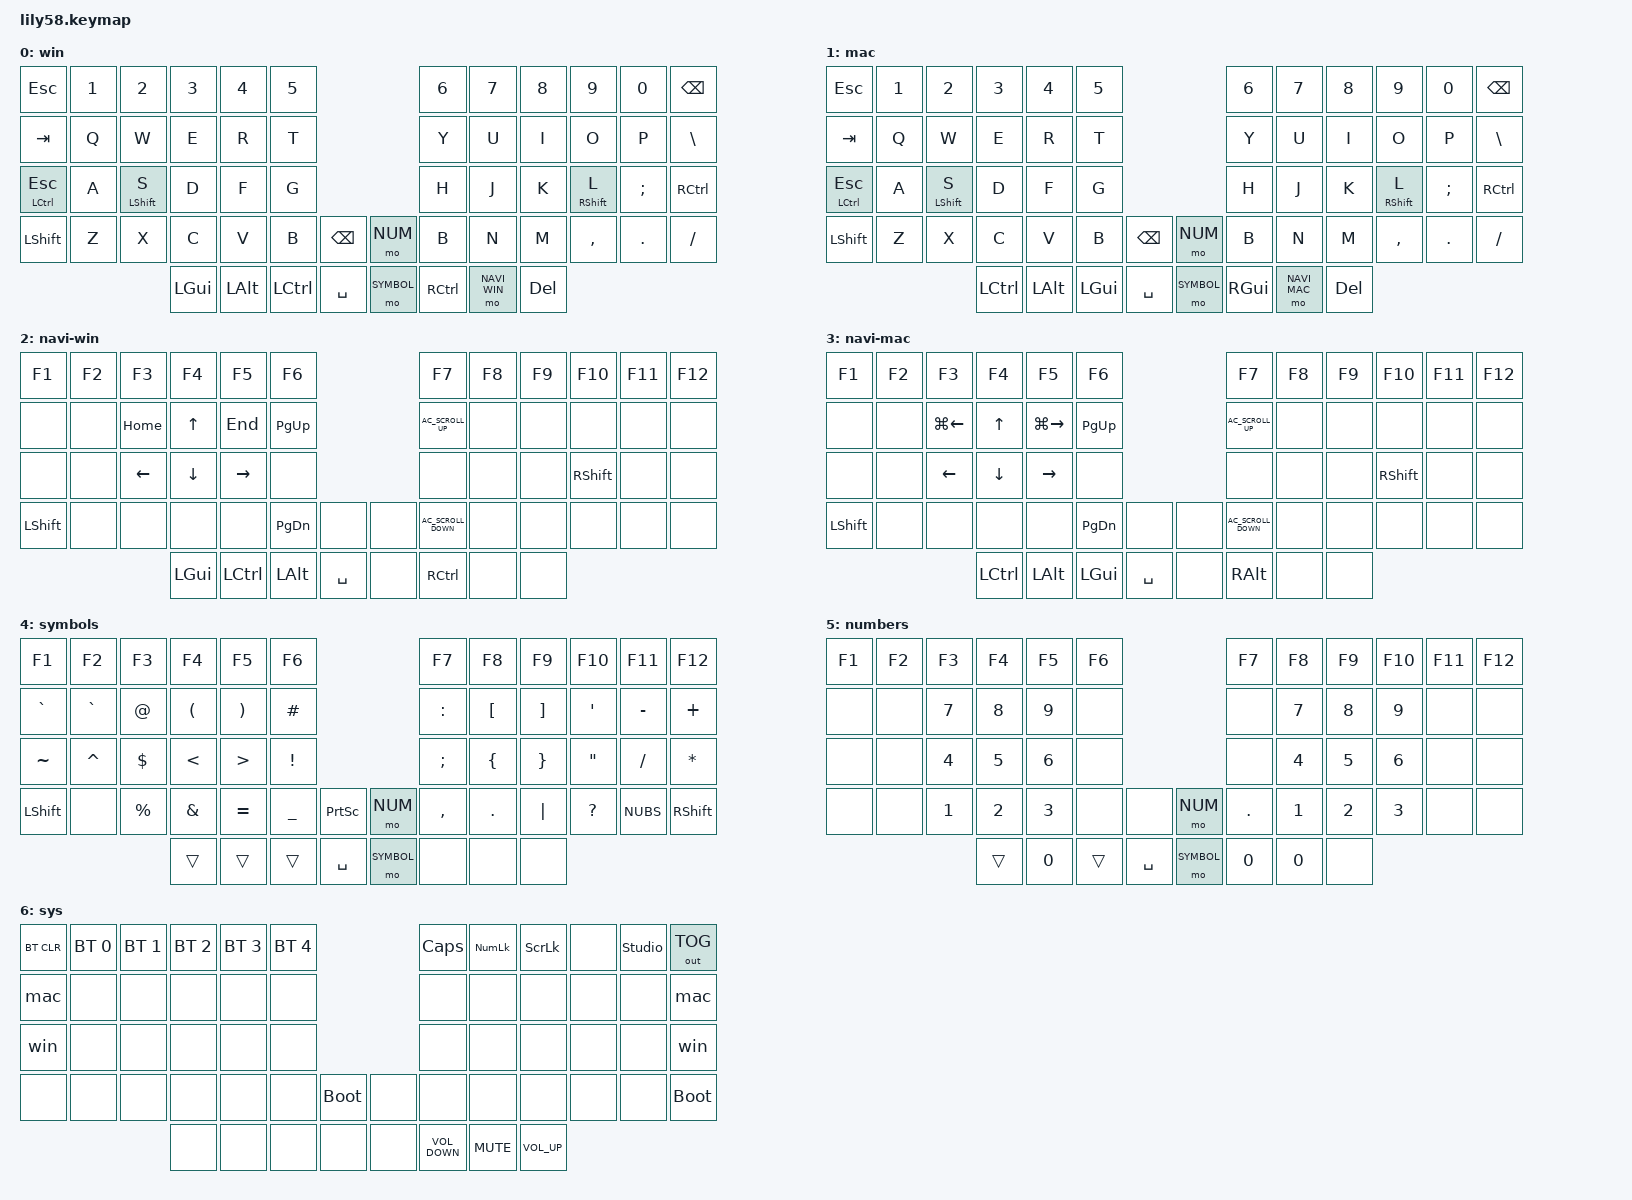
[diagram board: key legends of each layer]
/*
 * Copyright (c) 2020 The ZMK Contributors
 *
 * SPDX-License-Identifier: MIT
 */

#include <behaviors.dtsi>
#include <dt-bindings/zmk/bt.h>
#include <dt-bindings/zmk/keys.h>
#include <dt-bindings/zmk/outputs.h>

#define BASEWIN 0
#define BASEMAC 1
#define NAVI_WIN 2
#define NAVI_MAC 3
#define SYMBOL 4
#define NUM 5
#define SYS 6

/ {
    behaviors {
        rt: retro_tap {
            compatible = "zmk,behavior-hold-tap";
            bindings = <&kp>, <&kp>;

            #binding-cells = <2>;
            flavor = "tap-preferred";
            tapping-term-ms = <100>;
            require-prior-idle-ms = <125>;
            quick-tap-ms = <125>;
            retro-tap;
        };
        tpmt: tpmt {
            compatible = "zmk,behavior-hold-tap";
            bindings = <&kp>, <&kp>;

            #binding-cells = <2>;
            flavor = "tap-preferred";
            tapping-term-ms = <100>;
            require-prior-idle-ms = <125>;
            quick-tap-ms = <125>;
        };
        tog_on: toggle_layer_on_only {
            compatible = "zmk,behavior-toggle-layer";
            #binding-cells = <1>;
            display-name = "Toggle Layer On";
            toggle-mode = "on";
        };
        tog_off: toggle_layer_off_only {
            compatible = "zmk,behavior-toggle-layer";
            #binding-cells = <1>;
            display-name = "Toggle Layer Off";
            toggle-mode = "off";
        };
        win: win {
            compatible = "zmk,behavior-macro";
            #binding-cells = <0>;
            display-name = "Toggle to Win";
            bindings = <&macro_tap
                &tog_off BASEMAC
                &tog_on BASEWIN
            >;
        };
        mac: mac {
            compatible = "zmk,behavior-macro";
            #binding-cells = <0>;
            display-name = "Toggle to Mac";
            bindings = <&macro_tap
                &tog_off BASEWIN
                &tog_on BASEMAC
            >;
        };
    };

    keymap {
        compatible = "zmk,keymap";

        default_layer {
            // ------------------------------------------------------------------------------------------------------------
            // |  ESC  |  1  |  2  |  3   |  4   |  5   |                   |  6   |  7    |  8    |  9   |   0   | BSPC  |
            // |  TAB  |  Q  |  W  |  E   |  R   |  T   |                   |  Y   |  U    |  I    |  O   |   P   |   \   |
            // |  NUM  |  A  |  S  |  D   |  F   |  G   |                   |  H   |  J    |  K    |  L   |   ;   |  ALT  |
            // | SHIFT |  Z  |  X  |  C   |  V   |  B   |  SPACE |  | NUM   |  N   |  M    |  ,    |  .   |   /   | SHIFT |
            //                     | GUI  | ALT  | CTRL |  SPACE |  | SYMBOL| CTRL | NAVI  | DELETE|

            display-name = "win";
            bindings = <
&kp ESC        &kp N1         &kp N2            &kp N3        &kp N4          &kp N5                               &kp N6     &kp N7         &kp N8         &kp N9         &kp N0                 &kp BSPC
&kp TAB        &kp Q          &kp W             &kp E         &kp R           &kp T                                &kp Y      &kp U          &kp I          &kp O          &kp P                  &kp BACKSLASH
&rt LCTRL ESC  &kp A          &rt LSHFT S       &kp D         &kp F           &kp G                                &kp H      &kp J          &kp K          &rt RSHFT L    &kp SEMICOLON          &kp RCTRL
&kp LSHFT      &kp Z          &kp X             &kp C         &kp V           &kp B      &kp BSPC      &mo NUM     &kp B      &kp N          &kp M          &kp COMMA      &kp DOT                &kp SLASH
                                                &kp LGUI      &kp LALT        &kp LCTRL  &kp SPACE     &mo SYMBOL  &kp RCTRL  &mo NAVI_WIN   &kp DELETE
            >;
        };

        mac_layer {
            // ------------------------------------------------------------------------------------------------------------
            // |  ESC  |  1  |  2  |  3   |  4   |  5   |                   |  6   |  7    |  8    |  9   |   0   | BSPC  |
            // |  TAB  |  Q  |  W  |  E   |  R   |  T   |                   |  Y   |  U    |  I    |  O   |   P   |   \   |
            // |  NUM  |  A  |  S  |  D   |  F   |  G   |                   |  H   |  J    |  K    |  L   |   ;   |  ALT  |
            // | SHIFT |  Z  |  X  |  C   |  V   |  B   |  SPACE |  | SPACE |  N   |  M    |  ,    |  .   |   /   | SHIFT |
            //                     | CTRL | ALT  | CMD  |  SPACE |  | SYMBOL| CTRL | NAVI  | DELETE|

            display-name = "mac";
            bindings = <
&kp ESC        &kp N1         &kp N2            &kp N3        &kp N4             &kp N5                               &kp N6     &kp N7         &kp N8         &kp N9         &kp N0                 &kp BSPC
&kp TAB        &kp Q          &kp W             &kp E         &kp R              &kp T                                &kp Y      &kp U          &kp I          &kp O          &kp P                  &kp BACKSLASH
&rt LCTRL ESC  &kp A          &rt LSHFT S       &kp D         &kp F              &kp G                                &kp H      &kp J          &kp K          &rt RSHFT L    &kp SEMICOLON          &kp RCTRL
&kp LSHFT      &kp Z          &kp X             &kp C         &kp V              &kp B      &kp BSPC      &mo NUM     &kp B      &kp N          &kp M          &kp COMMA      &kp DOT                &kp SLASH
                                                &kp LCTRL     &kp LALT           &kp LGUI   &kp SPACE     &mo SYMBOL  &kp RGUI   &mo NAVI_MAC   &kp DELETE
            >;
        };

        navigation_win_layer {
            // ------------------------------------------------------------------------------------------------------------
            // |       |     |     |      |      |      |                   |       |       |M-Click|       |       |       |
            // |       |     |     |  UP  |      | PGUP |                   |SCRL-UP|P-Click| MS-UP |S-Click|       |       |
            // | CTRL  |HOME |LEFT | DOWN |RIGHT |  END |                   |       |MS-LEFT| MS-DWN|MS-RGHT|       |       |
            // |SHIFT  |     |     |PGDOWN|      | PGDN |        |  |       |SCRL-DN|       |SCRLDWN|       |       |       |
            //                     |      | ALT  |      |        |  |       |       |       |       |

            display-name = "navi-win";
            bindings = <
&kp F1     &kp F2    &kp F3    &kp F4     &kp F5     &kp F6                           &kp F7                  &kp F8  &kp F9      &kp F10    &kp F11   &kp F12
&none      &none     &kp HOME  &kp UP     &kp END    &kp PG_UP                        &kp C_AC_SCROLL_UP      &none   &none       &none      &none     &none 
&none      &none     &kp LEFT  &kp DOWN   &kp RIGHT  &none                            &none                   &none   &none       &kp RSHFT  &none     &none 
&kp LSHFT  &none     &none     &none      &none      &kp PG_DN  &none      &none      &kp C_AC_SCROLL_DOWN    &none   &none       &none      &none     &none 
                               &kp LGUI   &kp LCTRL  &kp LALT   &kp SPACE  &none      &kp RCTRL               &none   &none 
            >;
        };

        navigation_mac_layer {
            // ------------------------------------------------------------------------------------------------------------
            // |       |     |      |      |      |      |                   |       |       |M-Click|       |       |       |
            // |       |     |CMD+<-|  UP  |CMD+->| PGUP |                   |SCRL-UP|P-Click| MS-UP |S-Click|       |       |
            // | CTRL  |HOME |LEFT  | DOWN |RIGHT |      |                   |       |MS-LEFT| MS-DWN|MS-RGHT|       |       |
            // |SHIFT  |     |      |      |      | PGDN |        |  |       |SCRL-DN|       |SCRLDWN|       |       |       |
            //                      |      |      | SHIFT|        |  |       |       |       |       |

            display-name = "navi-mac";
            bindings = <
&kp F1     &kp F2    &kp F3        &kp F4     &kp F5          &kp F6                           &kp F7                  &kp F8  &kp F9      &kp F10   &kp F11   &kp F12
&none      &none     &kp LG(LEFT)  &kp UP     &kp LG(RIGHT)   &kp PG_UP                        &kp C_AC_SCROLL_UP      &none   &none       &none     &none     &none 
&none      &none     &kp LEFT      &kp DOWN   &kp RIGHT       &none                            &none                   &none   &none       &kp RSHFT &none     &none 
&kp LSHFT  &none     &none         &none      &none           &kp PG_DN  &none      &none      &kp C_AC_SCROLL_DOWN    &none   &none       &none     &none     &none 
                                   &kp LCTRL  &kp LALT        &kp LGUI   &kp SPACE  &none      &kp RALT                &none   &none 
            >;
        };

        symbol_layer {
            // ------------------------------------------------------------------------------------------------------------
            // |  F1   |  F2 |  F3 |  F4  |  F5  |  F6  |                   |  F7  |  F8   |  F9   |  F10 |  F11  |  F12  |
            // |   `   |  ^  |  @  |   (  |   )  |  #   |                   |  :   |  [    |   ]   |   '  |   -   |   +   |
            // |   ~   |  `  |  $  |  <   |   >  |   !  |                   |  ;   |  {    |   }   |   "  |   /   |   *   |
            // | SHIFT |     |  %  |  &   |   =  |   _  |Prntscrn|  |       |  ,   |  .    |   |   |   ?  |   \   | SHIFT |
            //                     |      |      |      |        |  |       |      |  ALT  |       |

            display-name = "symbols";
            bindings = <
&kp F1     &kp F2       &kp F3       &kp F4         &kp F5       &kp F6                                    &kp F7     &kp F8     &kp F9     &kp F10     &kp F11        &kp F12
&kp GRAVE  &kp GRAVE    &kp AT       &kp LPAR       &kp RPAR     &kp HASH                                  &kp COLON  &kp LBKT   &kp RBKT   &kp SQT     &kp MINUS      &kp PLUS
&kp TILDE  &kp CARET    &kp DOLLAR   &kp LT         &kp GT       &kp EXCL                                  &kp SEMI   &kp LBRC   &kp RBRC   &kp DQT     &kp SLASH      &kp ASTERISK
&kp LSHFT  &none        &kp PERCENT  &kp AMPERSAND  &kp EQUAL    &kp UNDER    &kp PRINTSCREEN  &mo NUM     &kp COMMA  &kp DOT    &kp PIPE   &kp QMARK   &kp NUBS       &kp RSHFT
                                     &trans         &trans       &trans       &kp SPACE        &mo SYMBOL  &none      &none      &none 
            >;
        };

        number_layer {
            // ------------------------------------------------------------------------------------------------------------
            // |  F1   |  F2 |  F3 |  F4  |  F5  |  F6  |                   |  F7  |  F8   |  F9   |  F10 |  F11  |  F12  |
            // |   `   |  7  |  8  |  9   |   (  |   )  |                   |  [   |  ]    |   {   |   }  |   -   |   +   |
            // | CTRL  |  4  |  5  |  6   |   0  |   $  |                   |  ;   |  '    |   &   |   |  |   /   |   *   |
            // | SHIFT |  1  |  2  |  3   |   =  |   %  |Prntscrn|  |       |  ,   |  .    |   @   |   $  |   %   | SHIFT |
            //                     |      |      |      |        |  |       |      |  ALT  |       |

            display-name = "numbers";
            bindings = <
&kp F1  &kp F2  &kp F3  &kp F4  &kp F5  &kp F6                         &kp F7   &kp F8  &kp F9  &kp F10   &kp F11   &kp F12
&none   &none   &kp N7  &kp N8  &kp N9  &none                          &none    &kp N7  &kp N8  &kp N9     &none     &none 
&none   &none   &kp N4  &kp N5  &kp N6  &none                          &none    &kp N4  &kp N5  &kp N6     &none     &none 
&none   &none   &kp N1  &kp N2  &kp N3  &none   &none      &mo NUM     &kp DOT  &kp N1  &kp N2  &kp N3     &none     &none 
                        &trans  &kp N0  &trans  &kp SPACE  &mo SYMBOL  &kp N0   &kp N0   &none 
            >;

            label = "numbers";
        };

        sys {
            display-name="sys";
            bindings = <
&bt BT_CLR   &bt BT_SEL 0  &bt BT_SEL 1  &bt BT_SEL 2  &bt BT_SEL 3  &bt BT_SEL 4                                &kp CAPS           &kp KP_NUMLOCK  &kp SCROLLLOCK   &none  &studio_unlock   &out OUT_TOG
&mac        &none         &none         &none         &none         &none                                        &none              &none           &none            &none  &none            &mac
&win        &none         &none         &none         &none         &none                                        &none              &none           &none            &none  &none            &win
&none       &none         &none         &none         &none         &none           &bootloader     &none        &none              &none           &none            &none  &none            &bootloader
                                        &none         &none         &none           &none           &none        &kp C_VOLUME_DOWN  &kp C_MUTE      &kp C_VOLUME_UP
            >;

            label = "sys";
        };
    };

    conditional_layers {
        compatible = "zmk,conditional-layers";
        sys_layer {
           if-layers = <NUM SYMBOL>;
           then-layer = <SYS>;
       };
    };

    combos {
        compatible = "zmk,combos";
        combo_navi_win {
            timeout-ms = <60>;
            key-positions = <31 32>;
            layers = <BASEWIN>;
            bindings = <&mo NAVI_WIN>;
        };
        combo_navi_mac {
            timeout-ms = <60>;
            key-positions = <31 32>;
            layers = <BASEMAC>;
            bindings = <&mo NAVI_MAC>;
        };
        combo_num {
            timeout-ms = <60>;
            key-positions = <27 28>;
            layers = <BASEWIN BASEMAC>;
            bindings = <&mo NUM>;
        };
        combo_enter {
            timeout-ms = <60>;
            key-positions = <31 32 33>;
            bindings = <&kp ENTER>;
        };
    };
};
